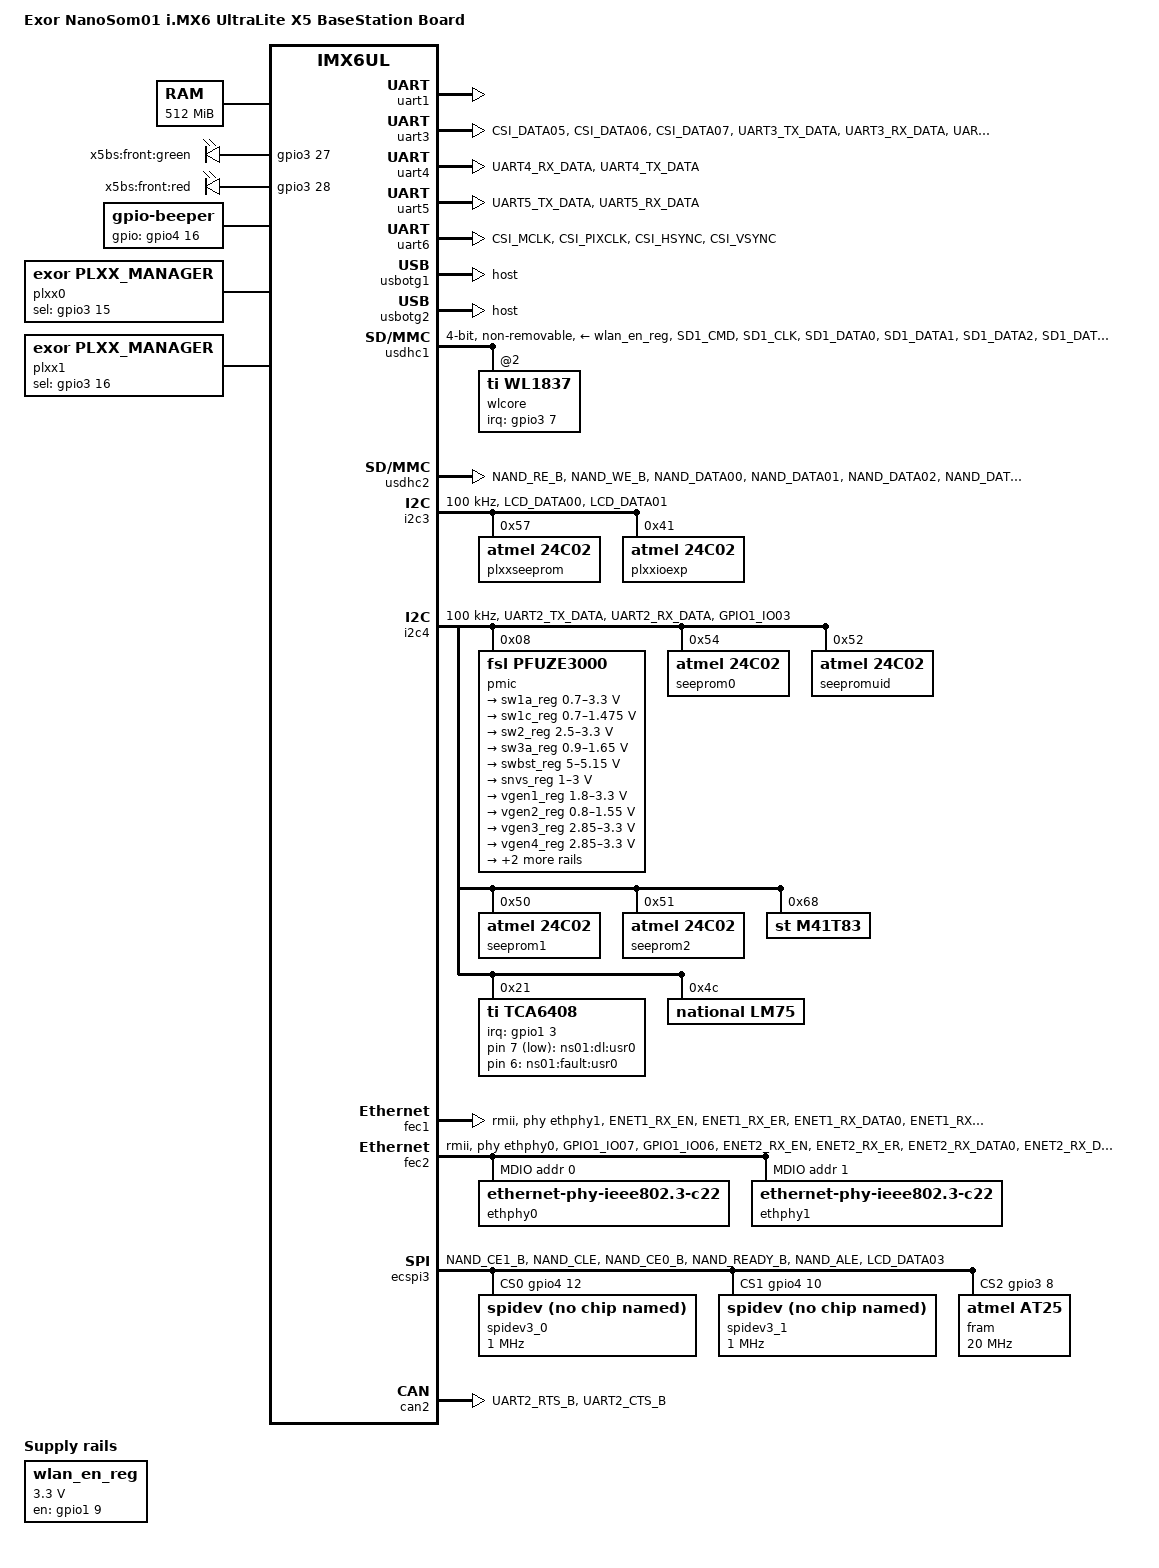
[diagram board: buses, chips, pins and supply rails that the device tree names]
/*
 * Copyright (C) 2018 Exor International.
 *
 * This program is free software; you can redistribute it and/or modify
 * it under the terms of the GNU General Public License version 2 as
 * published by the Free Software Foundation.
 */

/dts-v1/;

#include <dt-bindings/input/input.h>
#include "imx6ul.dtsi"

/ {
	model = "Exor NanoSom01 i.MX6 UltraLite X5 BaseStation Board";
	compatible = "exor,ns01-ek435", "fsl,imx6ul";

	aliases {
		i2c3 = &i2c1;
		i2c1 = &i2c3;
		i2c2 = &i2c2;
		i2c0 = &i2c4;
		serial0 = &uart1;
		serial1 = &uart3;
		serial2 = &uart5;
		serial3 = &uart4;
		serial4 = &uart6;
		can0 = &can2;
		watchdog0 = &wdog1;
	};

	chosen {
		stdout-path = &uart1;
	};

	memory {
		reg = <0x80000000 0x20000000>;
	};

	regulators {
		compatible = "simple-bus";
		#address-cells = <1>;
		#size-cells = <0>;

		wlan_en_reg: fixedregulator@2 {
			compatible = "regulator-fixed";
			reg = <2>;
			regulator-name = "wlan-en-regulator";
			regulator-min-microvolt = <3300000>;
			regulator-max-microvolt = <3300000>;
			/* WLAN_EN GPIO for this board */
			gpio = <&gpio1 9 0>;
			/* WLAN card specific delay */
			startup-delay-us = <70000>;
			enable-active-high;
		};

	};

	leds {
		compatible = "gpio-leds";
		pinctrl-names = "default";
		pinctrl-0 = <&pinctrl_leds>;

		led@1 {
			label = "ns01:dl:usr0";
			gpios = <&tca6408 7 1>;
			default-state = "on";
		};

		led@2 {
			label = "ns01:fault:usr0";
			gpios = <&tca6408 6 0>;
			default-state = "off";
		};

		led@3 {
			label = "x5bs:front:green";
			gpios = <&gpio3 27 0>;
			default-state = "on";
		};

		led@4 {
			label = "x5bs:front:red";
			gpios = <&gpio3 28 0>;
			default-state = "off";
		};
	};

	beeper {
	  /* Piezoelectric buzzer */
	  compatible = "gpio-beeper";
	  pinctrl-0 = <&pinctrl_beeper>;
	  pinctrl-names = "default";
	  gpios = <&gpio4 16 GPIO_ACTIVE_HIGH>;
	};

	working_hours {
	  compatible = "working_hours";
	  nvmem-names = "eeprom", "rtcnvram";
	  nvmem = <&seeprom0>, <&m41t83>;
	  status = "okay";
	};
	
	plxx0: plugin0 {
	  compatible = "exor,plxx_manager";
	  nvmem-names = "eeprom", "ioexp";
	  nvmem = <&plxxseeprom>, <&plxxioexp>;
	  sel-gpio = <&gpio3 15 0>;
	  index = <0>;
	  status = "okay";
	};

	plxx1: plugin1 {
	  compatible = "exor,plxx_manager";
	  nvmem-names = "eeprom", "ioexp";
	  nvmem = <&plxxseeprom>, <&plxxioexp>;
	  sel-gpio = <&gpio3 16 0>;
	  index = <1>;
	  status = "okay";
	};
};

&clks {
	assigned-clocks = <&clks IMX6UL_CLK_PLL4_AUDIO_DIV>;
	assigned-clock-rates = <786432000>;
};

&cpu0 {
	arm-supply = <&reg_arm>;
	soc-supply = <&reg_soc>;
};

&gpc {
	fsl,cpu_pupscr_sw2iso = <0x2>;
	fsl,cpu_pupscr_sw = <0x1>;
	fsl,cpu_pdnscr_iso2sw = <0x1>;
	fsl,cpu_pdnscr_iso = <0x1>;
	fsl,wdog-reset = <1>; /* watchdog select of reset source */
	fsl,ldo-bypass = <1>; /* use ldo-bypass, u-boot will check it and configure */
};

&uart1 {
	/* Internal/debug /dev/ttymxc0 */
	/delete-property/dmas;
	/delete-property/dma-names;	
	status = "okay";
};

&uart3 {
	/* X8 Connector /dev/ttymxc1 */
	pinctrl-names = "default";
	pinctrl-0 = <&pinctrl_uart3>;
	fsl,uart-has-rtscts;
	rts-gpio = <&gpio4 27 0>;
	mode-gpio = <&gpio4 26 0>;
	rxen-gpio = <&gpio4 28 0>;
	status = "okay";
	/delete-property/dmas;
	/delete-property/dma-names;	
};

&uart4 {
	/* Safety board /dev/ttymxc2 */
	pinctrl-names = "default";
	pinctrl-0 = <&pinctrl_uart4>;
	fsl,uart-has-rtscts;
	status = "okay";
};

&uart5 {
	/* Safety board /dev/ttymxc3 */
	pinctrl-names = "default";
	pinctrl-0 = <&pinctrl_uart5>;
	fsl,uart-has-rtscts;
	status = "okay";
};

&uart6 {
	/* PlugIn /dev/ttymxc4 */
	pinctrl-names = "default";
	pinctrl-0 = <&pinctrl_uart6>;
	fsl,uart-has-rtscts;
	is-plugin-module;
	status = "okay";
	plugin1 = <&plxx0>;
	plugin2 = <&plxx1>;
	/delete-property/dmas;
	/delete-property/dma-names;	
};

&usbotg1 {
	dr_mode = "host";
	status = "okay";
};

&usbotg2 {
	dr_mode = "host";
	status = "okay";
};

&usdhc1 {
	pinctrl-names = "default";
	pinctrl-0 = <&pinctrl_usdhc1>;
	bus-width = <4>;
	vmmc-supply = <&wlan_en_reg>;
	non-removable;		/* non-removable is not a variable, the fact it is */
						/* listed is all that is used by driver  */
	cap-power-off-card;
	#address-cells = <1>;
	#size-cells = <0>;
	keep-power-in-suspend;
	enable-sdio-wakeup;
	max-frequency = <25000000>;
	status = "okay";

	wlcore: wlcore@0 {
		compatible = "ti,wl1837";
		reg = <2>;
		interrupt-parent = <&gpio3>;
		interrupts = <7 IRQ_TYPE_EDGE_FALLING>;
	};
};

&usdhc2 {
	pinctrl-names = "default";
	pinctrl-0 = <&pinctrl_usdhc2>;
	no-1-8-v;
	keep-power-in-suspend;
	enable-sdio-wakeup;
	status = "okay";
};

&i2c3 {
	clock-frequency = <100000>;
	pinctrl-names = "default";
	pinctrl-0 = <&pinctrl_i2c3>;
	status = "okay";

	plxxseeprom:seeprom1@57 {
		compatible = "atmel,24c02";
		reg = <0x57>;
	};

	plxxioexp:ioexp1@41 {
		compatible = "atmel,24c02";
		reg = <0x41>;
	};
};

&i2c4 {
	clock-frequency = <100000>;
	pinctrl-names = "default";
	pinctrl-0 = <&pinctrl_i2c4>;
	status = "okay";

	pmic: pfuze3000@08 {
		compatible = "fsl,pfuze3000";
		reg = <0x08>;

		regulators {
			sw1a_reg: sw1a {
					regulator-min-microvolt = <700000>;
					regulator-max-microvolt = <3300000>;
					regulator-boot-on;
					regulator-always-on;
					regulator-ramp-delay = <6250>;
			};

			/* use sw1c_reg to align with pfuze100/pfuze200 */
			sw1c_reg: sw1b {
				regulator-min-microvolt = <700000>;
				regulator-max-microvolt = <1475000>;
				regulator-boot-on;
				regulator-always-on;
				regulator-ramp-delay = <6250>;
			};

			sw2_reg: sw2 {
				regulator-min-microvolt = <2500000>;
				regulator-max-microvolt = <3300000>;
				regulator-boot-on;
				regulator-always-on;
			};

			sw3a_reg: sw3 {
				regulator-min-microvolt = <900000>;
				regulator-max-microvolt = <1650000>;
				regulator-boot-on;
				regulator-always-on;
			};

			swbst_reg: swbst {
				regulator-min-microvolt = <5000000>;
				regulator-max-microvolt = <5150000>;
				regulator-boot-on;
				regulator-always-on;
			};

			snvs_reg: vsnvs {
				regulator-min-microvolt = <1000000>;
				regulator-max-microvolt = <3000000>;
				regulator-boot-on;
				regulator-always-on;
			};

			vref_reg: vrefddr {
				regulator-boot-on;
				regulator-always-on;
			};

			vgen1_reg: vldo1 {
				regulator-min-microvolt = <1800000>;
				regulator-max-microvolt = <3300000>;
				regulator-always-on;
			};

			vgen2_reg: vldo2 {
				regulator-min-microvolt = <800000>;
				regulator-max-microvolt = <1550000>;
				regulator-always-on;
			};

			vgen3_reg: vccsd {
				regulator-min-microvolt = <2850000>;
				regulator-max-microvolt = <3300000>;
				regulator-always-on;
			};

			vgen4_reg: v33 {
				regulator-min-microvolt = <2850000>;
				regulator-max-microvolt = <3300000>;
				regulator-always-on;
			};

			vgen5_reg: vldo3 {
				regulator-min-microvolt = <1800000>;
				regulator-max-microvolt = <3300000>;
				regulator-always-on;
			};

			vgen6_reg: vldo4 {
				regulator-min-microvolt = <1800000>;
				regulator-max-microvolt = <3300000>;
				regulator-always-on;
			};
		};
	};
	
	seeprom0:seeprom0@54 {
		compatible = "atmel,24c02";
		reg = <0x54>;
	};

	seepromuid:seepromuid@52 {
		compatible = "atmel,24c02";
		reg = <0x52>;
	};

	seeprom1:seeprom1@50 {
		compatible = "atmel,24c02";
		reg = <0x50>;
	};

	seeprom2:seeprom2@51 {
		compatible = "atmel,24c02";
		reg = <0x51>;
	};
	
	m41t83:m41t83@68 {
		compatible = "st,m41t83";
		reg = <0x68>;
	};

	tca6408: tca6408@21 {
		compatible = "ti,tca6408";
		interrupt-parent = <&gpio1>;
		interrupts = <3 0x8>;
		gpio-controller;
		#gpio-cells = <2>;
		interrupt-controller;
		#interrupt-cells = <2>;
		reg = <0x21>;
		restart-if-fails;
	};
	
	lm75@4c {
	  compatible = "national,lm75";
	  reg = <0x4C>;
	  status = "okay";
	};
};

&iomuxc {
  	pinctrl-names = "default";
	pinctrl-0 = <&pinctrl_hog_1>;
	imx6ul-ns01 {
		pinctrl_usdhc1: usdhc1grp {
			fsl,pins = <
				MX6UL_PAD_SD1_CMD__USDHC1_CMD     0x170F9
				MX6UL_PAD_SD1_CLK__USDHC1_CLK     0x100F9
				MX6UL_PAD_SD1_DATA0__USDHC1_DATA0 0x170F9
				MX6UL_PAD_SD1_DATA1__USDHC1_DATA1 0x170F9
				MX6UL_PAD_SD1_DATA2__USDHC1_DATA2 0x170F9
				MX6UL_PAD_SD1_DATA3__USDHC1_DATA3 0x170F9
				MX6UL_PAD_UART1_RTS_B__GPIO1_IO19 0x170F9 /* SD1 CD */
				MX6UL_PAD_LCD_DATA02__GPIO3_IO07  0x170F9 /* WIFI IRQ */
				//MX6UL_PAD_UART3_RTS_B__GPIO1_IO27 0x170F9 /* WIFI IRQ rev 1 */
				MX6UL_PAD_GPIO1_IO05__GPIO1_IO05  0x170F9 /* Base Station Pairing Lamp */
			>;
		};

		pinctrl_usdhc2: usdhc2grp {
			fsl,pins = <
				MX6UL_PAD_NAND_RE_B__USDHC2_CLK     0x17059
				MX6UL_PAD_NAND_WE_B__USDHC2_CMD     0x17059
				MX6UL_PAD_NAND_DATA00__USDHC2_DATA0 0x17059
				MX6UL_PAD_NAND_DATA01__USDHC2_DATA1 0x17059
				MX6UL_PAD_NAND_DATA02__USDHC2_DATA2 0x17059
				MX6UL_PAD_NAND_DATA03__USDHC2_DATA3 0x17059
			>;
		};

		pinctrl_hog_1: hoggrp {
			fsl,pins = <
				MX6UL_PAD_NAND_DATA07__GPIO4_IO09	0x17059 /* CARD SLOT N (SDIO MUX) */
				MX6UL_PAD_GPIO1_IO09__GPIO1_IO09	0x17059 /* WLAN EN */
				MX6UL_PAD_LCD_DATA11__GPIO3_IO16	0x17059 /* PL_T_EN */	
				MX6UL_PAD_LCD_DATA10__GPIO3_IO15	0x17059 /* PL_B_EN */
				>;
		};

		pinctrl_i2c4: i2c4grp {
			fsl,pins = <
				MX6UL_PAD_UART2_TX_DATA__I2C4_SCL 0x4001b8b0
				MX6UL_PAD_UART2_RX_DATA__I2C4_SDA 0x4001b8b0
				MX6UL_PAD_GPIO1_IO03__GPIO1_IO03  0x17059
			>;
		};

		pinctrl_i2c3: i2c3grp {
			fsl,pins = <
				MX6UL_PAD_LCD_DATA00__I2C3_SDA    0x4001b8b0
				MX6UL_PAD_LCD_DATA01__I2C3_SCL    0x4001b8b0
			>;
		};
		
		pinctrl_beeper: beeper0grp {
		  fsl,pins = <
				MX6UL_PAD_NAND_DQS__GPIO4_IO16          0x110b0
			>;
		};
		
		pinctrl_enet1: enet1grp {
			fsl,pins = <
				MX6UL_PAD_ENET1_RX_EN__ENET1_RX_EN	0x1b0b0
				MX6UL_PAD_ENET1_RX_ER__ENET1_RX_ER	0x1b0b0
				MX6UL_PAD_ENET1_RX_DATA0__ENET1_RDATA00	0x1b0b0
				MX6UL_PAD_ENET1_RX_DATA1__ENET1_RDATA01	0x1b0b0
				MX6UL_PAD_ENET1_TX_EN__ENET1_TX_EN	0x1b0b0
				MX6UL_PAD_ENET1_TX_DATA0__ENET1_TDATA00	0x1b0b0
				MX6UL_PAD_ENET1_TX_DATA1__ENET1_TDATA01	0x1b0b0
				MX6UL_PAD_ENET1_TX_CLK__ENET1_REF_CLK1	0x4b01b0a8
			>;
		};

		pinctrl_enet2: enet2grp {
			fsl,pins = <
				MX6UL_PAD_GPIO1_IO07__ENET2_MDC		0x1b0b0
				MX6UL_PAD_GPIO1_IO06__ENET2_MDIO	0x1b0b0
				MX6UL_PAD_ENET2_RX_EN__ENET2_RX_EN	0x1b0b0
				MX6UL_PAD_ENET2_RX_ER__ENET2_RX_ER	0x1b0b0
				MX6UL_PAD_ENET2_RX_DATA0__ENET2_RDATA00	0x1b0b0
				MX6UL_PAD_ENET2_RX_DATA1__ENET2_RDATA01	0x1b0b0
				MX6UL_PAD_ENET2_TX_EN__ENET2_TX_EN	0x1b0b0
				MX6UL_PAD_ENET2_TX_DATA0__ENET2_TDATA00	0x1b0b0
				MX6UL_PAD_ENET2_TX_DATA1__ENET2_TDATA01	0x1b0b0
				MX6UL_PAD_ENET2_TX_CLK__ENET2_REF_CLK2	0x4b01b0a8
				MX6UL_PAD_NAND_DATA06__GPIO4_IO08           0x0000E0B1
			>;
		};
		
		pinctrl_leds: ledsgrp {
			fsl,pins = <
				MX6UL_PAD_LCD_DATA22__GPIO3_IO27  0x10b0
				MX6UL_PAD_LCD_DATA23__GPIO3_IO28  0x10b0
			>;
		};

		pinctrl_uart3: uart3grp {
			fsl,pins = <
				MX6UL_PAD_CSI_DATA05__GPIO4_IO26	0x1b0b1
				MX6UL_PAD_CSI_DATA06__GPIO4_IO27	0x1b0b1
				MX6UL_PAD_CSI_DATA07__GPIO4_IO28	0x1b0b1
				MX6UL_PAD_UART3_TX_DATA__UART3_DCE_TX	0x1b0b1
				MX6UL_PAD_UART3_RX_DATA__UART3_DCE_RX	0x1b0b1
				MX6UL_PAD_UART3_RTS_B__UART3_DCE_RTS	0x1b0b1
				MX6UL_PAD_UART3_CTS_B__UART3_DCE_CTS	0x1b0b1
			>;
		};

		pinctrl_uart4: uart4grp {
			fsl,pins = <
				MX6UL_PAD_UART4_RX_DATA__UART4_DCE_RX	0x0001B0B1
				MX6UL_PAD_UART4_TX_DATA__UART4_DCE_TX	0x0001B0B1
			>;
		};
		
		pinctrl_uart5: uart5grp {
			fsl,pins = <
				MX6UL_PAD_UART5_TX_DATA__UART5_DCE_TX	0x1b0b1
				MX6UL_PAD_UART5_RX_DATA__UART5_DCE_RX	0x1b0b1
			>;
		};

		pinctrl_uart6: uart6grp {
			fsl,pins = <
				MX6UL_PAD_CSI_MCLK__UART6_DCE_TX	0x1b0b1
				MX6UL_PAD_CSI_PIXCLK__UART6_DCE_RX	0x1b0b1
				MX6UL_PAD_CSI_HSYNC__UART6_DCE_CTS	0x1b0b1
				MX6UL_PAD_CSI_VSYNC__UART6_DCE_RTS	0x1b0b1
			>;
		};
		
		pinctrl_ecspi3: ecspi3grp {
			fsl,pins = <
				MX6UL_PAD_NAND_CE1_B__ECSPI3_MOSI   0x10b0
				MX6UL_PAD_NAND_CLE__ECSPI3_MISO     0x10b0
				MX6UL_PAD_NAND_CE0_B__ECSPI3_SCLK   0x10b0
				MX6UL_PAD_NAND_READY_B__GPIO4_IO12  0x10b0
				MX6UL_PAD_NAND_ALE__GPIO4_IO10      0x10b0
				MX6UL_PAD_LCD_DATA03__GPIO3_IO08    0x10b0
			>;
		};

		pinctrl_flexcan2: flexcan2grp{
			fsl,pins = <
				MX6UL_PAD_UART2_RTS_B__FLEXCAN2_RX	0x1b020
				MX6UL_PAD_UART2_CTS_B__FLEXCAN2_TX	0x1b020
			>;
		};
	};
};

&fec1 {
	pinctrl-names = "default";
	pinctrl-0 = <&pinctrl_enet1>;
	phy-mode = "rmii";
	phy-handle = <&ethphy1>;
	status = "okay";
};

&fec2 {
	pinctrl-names = "default";
	pinctrl-0 = <&pinctrl_enet2>;
	phy-mode = "rmii";
	phy-handle = <&ethphy0>;
	phy-reset-gpios = <&gpio4 8 GPIO_ACTIVE_LOW>;
	phy-reset-duration = <30>;
	status = "okay";

	mdio {
		#address-cells = <1>;
		#size-cells = <0>;

		ethphy0: ethernet-phy@0 {
			compatible = "ethernet-phy-ieee802.3-c22";
			reg = <0>;
		};

		ethphy1: ethernet-phy@1 {
			compatible = "ethernet-phy-ieee802.3-c22";
			reg = <1>;
		};
	};
};

&ecspi3 {
	fsl,spi-num-chipselects = <3>;
	cs-gpios = <&gpio4 12 0>, <&gpio4 10 0>, <&gpio3 8 0>;
	pinctrl-names = "default";
	pinctrl-0 = <&pinctrl_ecspi3>;
	status = "okay";
	/delete-property/dmas;
	/delete-property/dma-names;	

	spidev3_0: spi3@0 {
		compatible = "generic,spidev";
		reg = <0>;
		spi-max-frequency = <1000000>;
	};
	
	spidev3_1: spi3@1 {
		compatible = "generic,spidev";
		reg = <1>;
		spi-max-frequency = <1000000>;
	};
	
	fram: at25@2 {
        /* CS3 FRAM */
	    compatible = "atmel,at25", "st,m95256";
	    reg = <2>;
	    spi-max-frequency = <20000000>;
	    pagesize = <64>;
	    size = <65536>;
	    address-width = <16>;
	};
};

&can2 {
	pinctrl-names = "default";
	pinctrl-0 = <&pinctrl_flexcan2>;
	status = "okay";
};

